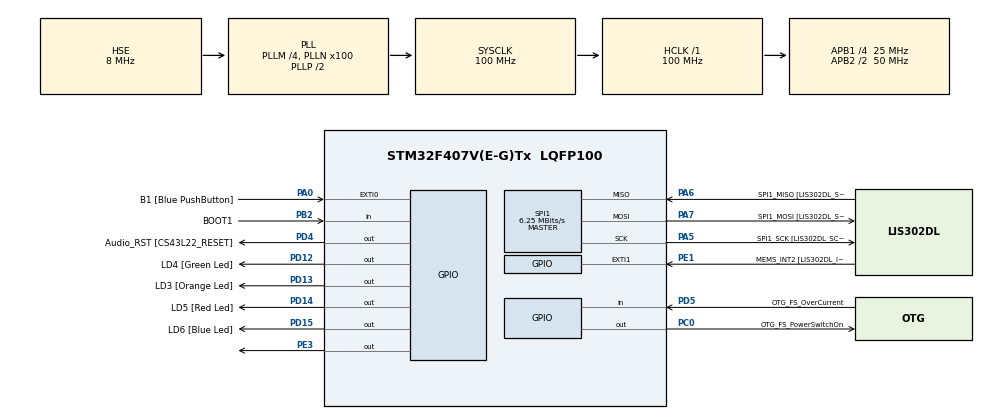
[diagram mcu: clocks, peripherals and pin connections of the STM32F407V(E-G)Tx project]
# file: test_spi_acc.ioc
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Mcu.Family=STM32F4
Mcu.Name=STM32F407V(E-G)Tx
Mcu.Package=LQFP100
NVIC.PriorityGroup=NVIC_PRIORITYGROUP_0
PA0-WKUP.GPIO_Label=B1 [Blue PushButton]
PA0-WKUP.Signal=GPXTI0
PA10.GPIO_Label=OTG_FS_ID
PA10.GPIO_Mode=GPIO_MODE_AF_PP
PA10.GPIO_PuPd=GPIO_NOPULL
PA10.GPIO_Speed=GPIO_SPEED_FREQ_LOW
PA10.Signal=USB_OTG_FS_ID
PA11.GPIO_Label=OTG_FS_DM
PA11.GPIO_Mode=GPIO_MODE_AF_PP
PA11.GPIO_PuPd=GPIO_NOPULL
PA11.GPIO_Speed=GPIO_SPEED_FREQ_LOW
PA11.Signal=USB_OTG_FS_DM
PA12.GPIO_Label=OTG_FS_DP
PA12.GPIO_Mode=GPIO_MODE_AF_PP
PA12.GPIO_PuPd=GPIO_NOPULL
PA12.GPIO_Speed=GPIO_SPEED_FREQ_LOW
PA12.Signal=USB_OTG_FS_DP
PA13.GPIO_Label=SWDIO
PA13.Mode=Serial_Wire
PA13.Signal=SYS_JTMS-SWDIO
PA14.GPIO_Label=SWCLK
PA14.Mode=Serial_Wire
PA14.Signal=SYS_JTCK-SWCLK
PA4.GPIO_Label=I2S3_WS [CS43L22_LRCK]
PA4.GPIO_Mode=GPIO_MODE_AF_PP
PA4.GPIO_PuPd=GPIO_NOPULL
PA4.GPIO_Speed=GPIO_SPEED_FREQ_LOW
PA4.Signal=I2S3_WS
PA5.GPIO_Label=SPI1_SCK [LIS302DL_SCL/SPC]
PA5.GPIO_Mode=GPIO_MODE_AF_PP
PA5.GPIO_PuPd=GPIO_NOPULL
PA5.GPIO_Speed=GPIO_SPEED_FREQ_LOW
PA5.Mode=Full_Duplex_Master
PA5.Signal=SPI1_SCK
PA6.GPIO_Label=SPI1_MISO [LIS302DL_SDO]
PA6.GPIO_Mode=GPIO_MODE_AF_PP
PA6.GPIO_PuPd=GPIO_NOPULL
PA6.GPIO_Speed=GPIO_SPEED_FREQ_LOW
PA6.Mode=Full_Duplex_Master
PA6.Signal=SPI1_MISO
PA7.GPIO_Label=SPI1_MOSI [LIS302DL_SDA/SDI/SDO]
PA7.GPIO_Mode=GPIO_MODE_AF_PP
PA7.GPIO_PuPd=GPIO_NOPULL
PA7.GPIO_Speed=GPIO_SPEED_FREQ_LOW
PA7.Mode=Full_Duplex_Master
PA7.Signal=SPI1_MOSI
PA9.GPIO_Label=VBUS_FS
PA9.GPIO_Mode=GPIO_MODE_INPUT
PA9.GPIO_PuPd=GPIO_NOPULL
PA9.Signal=USB_OTG_FS_VBUS
PB10.GPIO_Label=CLK_IN [MP45DT02_CLK]
PB10.GPIO_Mode=GPIO_MODE_AF_PP
PB10.GPIO_PuPd=GPIO_NOPULL
PB10.GPIO_Speed=GPIO_SPEED_FREQ_LOW
PB10.Signal=I2S2_CK
PB2.GPIO_Label=BOOT1
PB2.GPIO_Mode=GPIO_MODE_INPUT
PB2.GPIO_PuPd=GPIO_NOPULL
PB2.Signal=GPIO_Input
PB3.GPIO_Label=SWO
PB3.Signal=SYS_JTDO-SWO
PB6.GPIO_Label=Audio_SCL [CS43L22_SCL]
PB6.GPIO_Mode=GPIO_MODE_AF_OD
PB6.GPIO_PuPd=GPIO_NOPULL
PB6.GPIO_Speed=GPIO_SPEED_FREQ_LOW
PB6.Signal=I2C1_SCL
PB9.GPIO_Label=Audio_SDA [CS43L22_SDA]
PB9.GPIO_Mode=GPIO_MODE_AF_OD
PB9.GPIO_PuPd=GPIO_NOPULL
PB9.GPIO_Speed=GPIO_SPEED_FREQ_LOW
PB9.Signal=I2C1_SDA
PC0.GPIO_Label=OTG_FS_PowerSwitchOn
PC0.GPIO_PuPd=GPIO_NOPULL
PC0.GPIO_Speed=GPIO_SPEED_FREQ_LOW
PC0.PinState=GPIO_PIN_SET
PC0.Signal=GPIO_Output
PC10.GPIO_Label=I2S3_SCK [CS43L22_SCLK]
PC10.GPIO_Mode=GPIO_MODE_AF_PP
PC10.GPIO_PuPd=GPIO_NOPULL
PC10.GPIO_Speed=GPIO_SPEED_FREQ_LOW
PC10.Signal=I2S3_CK
PC12.GPIO_Label=I2S3_SD [CS43L22_SDIN]
PC12.GPIO_Mode=GPIO_MODE_AF_PP
PC12.GPIO_PuPd=GPIO_NOPULL
PC12.GPIO_Speed=GPIO_SPEED_FREQ_LOW
PC12.Signal=I2S3_SD
PC14-OSC32_IN.GPIO_Label=PC14-OSC32_IN
PC14-OSC32_IN.Signal=RCC_OSC32_IN
PC15-OSC32_OUT.GPIO_Label=PC15-OSC32_OUT
PC15-OSC32_OUT.Signal=RCC_OSC32_OUT
PC3.GPIO_Label=PDM_OUT [MP45DT02_DOUT]
PC3.GPIO_Mode=GPIO_MODE_AF_PP
PC3.GPIO_PuPd=GPIO_NOPULL
PC3.GPIO_Speed=GPIO_SPEED_FREQ_LOW
PC3.Signal=I2S2_SD
PC7.GPIO_Label=I2S3_MCK [CS43L22_MCLK]
PC7.GPIO_Mode=GPIO_MODE_AF_PP
PC7.GPIO_PuPd=GPIO_NOPULL
PC7.GPIO_Speed=GPIO_SPEED_FREQ_LOW
PC7.Signal=I2S3_MCK
PD12.GPIO_Label=LD4 [Green Led]
PD12.GPIO_PuPd=GPIO_NOPULL
PD12.GPIO_Speed=GPIO_SPEED_FREQ_LOW
PD12.Signal=GPIO_Output
PD13.GPIO_Label=LD3 [Orange Led]
PD13.GPIO_PuPd=GPIO_NOPULL
PD13.GPIO_Speed=GPIO_SPEED_FREQ_LOW
PD13.Signal=GPIO_Output
PD14.GPIO_Label=LD5 [Red Led]
PD14.GPIO_PuPd=GPIO_NOPULL
PD14.GPIO_Speed=GPIO_SPEED_FREQ_LOW
PD14.Signal=GPIO_Output
PD15.GPIO_Label=LD6 [Blue Led]
PD15.GPIO_PuPd=GPIO_NOPULL
PD15.GPIO_Speed=GPIO_SPEED_FREQ_LOW
PD15.Signal=GPIO_Output
PD4.GPIO_Label=Audio_RST [CS43L22_RESET]
PD4.GPIO_PuPd=GPIO_NOPULL
PD4.GPIO_Speed=GPIO_SPEED_FREQ_LOW
PD4.Signal=GPIO_Output
PD5.GPIO_Label=OTG_FS_OverCurrent
PD5.GPIO_Mode=GPIO_MODE_INPUT
PD5.GPIO_PuPd=GPIO_NOPULL
PD5.Signal=GPIO_Input
PE1.GPIO_Label=MEMS_INT2 [LIS302DL_INT2]
PE1.GPIO_ModeDefaultEXTI=GPIO_MODE_EVT_RISING
PE1.GPIO_PuPd=GPIO_NOPULL
PE1.Signal=GPXTI1
PE3.GPIO_PuPd=GPIO_PULLUP
PE3.PinState=GPIO_PIN_SET
PE3.Signal=GPIO_Output
PH0-OSC_IN.GPIO_Label=PH0-OSC_IN
PH0-OSC_IN.Mode=HSE-External-Oscillator
PH0-OSC_IN.Signal=RCC_OSC_IN
PH1-OSC_OUT.GPIO_Label=PH1-OSC_OUT
PH1-OSC_OUT.Mode=HSE-External-Oscillator
PH1-OSC_OUT.Signal=RCC_OSC_OUT
ProjectManager.HeapSize=0x400
ProjectManager.StackSize=0x400
ProjectManager.TargetToolchain=SW4STM32
RCC.48MHZClocksFreq_Value=28571428.57142857
RCC.AHBFreq_Value=100000000
RCC.APB1CLKDivider=RCC_HCLK_DIV4
RCC.APB1Freq_Value=25000000
RCC.APB1TimFreq_Value=50000000
RCC.APB2CLKDivider=RCC_HCLK_DIV2
RCC.APB2Freq_Value=50000000
RCC.APB2TimFreq_Value=100000000
RCC.CortexFreq_Value=100000000
RCC.HCLKFreq_Value=100000000
RCC.HSE_VALUE=8000000
RCC.HSI_VALUE=16000000
RCC.LSE_VALUE=32768
RCC.PLLM=4
RCC.PLLN=100
RCC.PLLQ=7
RCC.PLLSourceVirtual=RCC_PLLSOURCE_HSE
RCC.SYSCLKFreq_VALUE=100000000
RCC.SYSCLKSource=RCC_SYSCLKSOURCE_PLLCLK
RCC.VCOOutputFreq_Value=200000000
SPI1.BaudRatePrescaler=SPI_BAUDRATEPRESCALER_8
SPI1.CLKPhase=SPI_PHASE_2EDGE
SPI1.CLKPolarity=SPI_POLARITY_HIGH
SPI1.CalculateBaudRate=6.25 MBits/s
SPI1.Direction=SPI_DIRECTION_2LINES
SPI1.Mode=SPI_MODE_MASTER
SPI1.VirtualType=VM_MASTER
board=STM32F4DISCOVERY

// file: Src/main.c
/**
 ******************************************************************************
 * File Name          : main.c
 * Description        : Main program body
 ******************************************************************************
 ** This notice applies to any and all portions of this file
 * that are not between comment pairs USER CODE BEGIN and
 * USER CODE END. Other portions of this file, whether
 * inserted by the user or by software development tools
 * are owned by their respective copyright owners.
 *
 * COPYRIGHT(c) 2017 STMicroelectronics
 *
 * Redistribution and use in source and binary forms, with or without modification,
 * are permitted provided that the following conditions are met:
 *   1. Redistributions of source code must retain the above copyright notice,
 *      this list of conditions and the following disclaimer.
 *   2. Redistributions in binary form must reproduce the above copyright notice,
 *      this list of conditions and the following disclaimer in the documentation
 *      and/or other materials provided with the distribution.
 *   3. Neither the name of STMicroelectronics nor the names of its contributors
 *      may be used to endorse or promote products derived from this software
 *      without specific prior written permission.
 *
 * THIS SOFTWARE IS PROVIDED BY THE COPYRIGHT HOLDERS AND CONTRIBUTORS "AS IS"
 * AND ANY EXPRESS OR IMPLIED WARRANTIES, INCLUDING, BUT NOT LIMITED TO, THE
 * IMPLIED WARRANTIES OF MERCHANTABILITY AND FITNESS FOR A PARTICULAR PURPOSE ARE
 * DISCLAIMED. IN NO EVENT SHALL THE COPYRIGHT HOLDER OR CONTRIBUTORS BE LIABLE
 * FOR ANY DIRECT, INDIRECT, INCIDENTAL, SPECIAL, EXEMPLARY, OR CONSEQUENTIAL
 * DAMAGES (INCLUDING, BUT NOT LIMITED TO, PROCUREMENT OF SUBSTITUTE GOODS OR
 * SERVICES; LOSS OF USE, DATA, OR PROFITS; OR BUSINESS INTERRUPTION) HOWEVER
 * CAUSED AND ON ANY THEORY OF LIABILITY, WHETHER IN CONTRACT, STRICT LIABILITY,
 * OR TORT (INCLUDING NEGLIGENCE OR OTHERWISE) ARISING IN ANY WAY OUT OF THE USE
 * OF THIS SOFTWARE, EVEN IF ADVISED OF THE POSSIBILITY OF SUCH DAMAGE.
 *
 ******************************************************************************
 */
#include "main.h"
#include "limits.h"
#include "stm32f4xx_hal.h"

/* USER CODE BEGIN Includes */
#define ADD_INC (0x01 << 4)
#define CTRL_REG6 0x25
#define OUT_X 0x28
#define OUT_Y 0x2A
#define OUT_Z 0x2C
#define CTRL_REG4 0x20
#define ACC_100_Hz 0x67
/* USER CODE END Includes */

SPI_HandleTypeDef hspi1;

/* USER CODE BEGIN PV */
/* Private variables ---------------------------------------------------------*/

/* USER CODE END PV */

void SystemClock_Config(void);
static void MX_GPIO_Init(void);
static void MX_SPI1_Init(void);

/* USER CODE BEGIN PFP */
/* Private function prototypes -----------------------------------------------*/
void writeRegister(uint8_t address, uint8_t value);
uint16_t readAxis(uint8_t axis);
void readRegisters(uint8_t address, uint8_t no_of_registers, uint8_t *data);
void initAccelerometer();
/* USER CODE END PFP */

/* USER CODE BEGIN 0 */
int16_t out_x;
int16_t out_y;
int16_t out_z;
uint8_t * data;
float z_axis_g;
float x_axis_g;
float y_axis_g;
/* USER CODE END 0 */

int main(void) {

	/* MCU Configuration----------------------------------------------------------*/

	/* Reset of all peripherals, Initializes the Flash interface and the Systick. */
	HAL_Init();

	/* Configure the system clock */
	SystemClock_Config();

	/* Initialize all configured peripherals */
	MX_GPIO_Init();
	MX_SPI1_Init();

	/* USER CODE BEGIN 2 */
	//HAL_SPI_DeInit(&hspi1);
	HAL_SPI_Init(&hspi1);
	initAccelerometer();
	/* USER CODE END 2 */

	/* Infinite loop */
	while (1) {

		/* USER CODE BEGIN 3 */
		out_x = readAxis(OUT_X);
		out_y = readAxis(OUT_Y);
		out_z = readAxis(OUT_Z);
		z_axis_g = (float) (out_z * 2.0) / (float) (INT16_MAX);
		x_axis_g = (float) (out_x * 2.0) / (float) (INT16_MAX);
		y_axis_g = (float) (out_y * 2.0) / (float) (INT16_MAX);
		//readRegisters(0x0F, 1, &data);
		HAL_Delay(100);
	}
	/* USER CODE END 3 */

}

/** System Clock Configuration
 */
void SystemClock_Config(void) {

	RCC_OscInitTypeDef RCC_OscInitStruct;
	RCC_ClkInitTypeDef RCC_ClkInitStruct;

	/**Configure the main internal regulator output voltage
	 */
	__HAL_RCC_PWR_CLK_ENABLE();

	__HAL_PWR_VOLTAGESCALING_CONFIG(PWR_REGULATOR_VOLTAGE_SCALE1);/**Initializes the CPU, AHB and APB busses clocks
	 */
	RCC_OscInitStruct.OscillatorType = RCC_OSCILLATORTYPE_HSE;
	RCC_OscInitStruct.HSEState = RCC_HSE_ON;
	RCC_OscInitStruct.PLL.PLLState = RCC_PLL_ON;
	RCC_OscInitStruct.PLL.PLLSource = RCC_PLLSOURCE_HSE;
	RCC_OscInitStruct.PLL.PLLM = 4;
	RCC_OscInitStruct.PLL.PLLN = 100;
	RCC_OscInitStruct.PLL.PLLP = RCC_PLLP_DIV2;
	RCC_OscInitStruct.PLL.PLLQ = 7;
	if (HAL_RCC_OscConfig(&RCC_OscInitStruct) != HAL_OK) {
		_Error_Handler(__FILE__, __LINE__);
	}

	/**Initializes the CPU, AHB and APB busses clocks
	 */
	RCC_ClkInitStruct.ClockType = RCC_CLOCKTYPE_HCLK | RCC_CLOCKTYPE_SYSCLK
			| RCC_CLOCKTYPE_PCLK1 | RCC_CLOCKTYPE_PCLK2;
	RCC_ClkInitStruct.SYSCLKSource = RCC_SYSCLKSOURCE_PLLCLK;
	RCC_ClkInitStruct.AHBCLKDivider = RCC_SYSCLK_DIV1;
	RCC_ClkInitStruct.APB1CLKDivider = RCC_HCLK_DIV4;
	RCC_ClkInitStruct.APB2CLKDivider = RCC_HCLK_DIV2;

	if (HAL_RCC_ClockConfig(&RCC_ClkInitStruct, FLASH_LATENCY_3) != HAL_OK) {
		_Error_Handler(__FILE__, __LINE__);
	}

	/**Configure the Systick interrupt time
	 */
	HAL_SYSTICK_Config(HAL_RCC_GetHCLKFreq() / 1000);

	/**Configure the Systick
	 */
	HAL_SYSTICK_CLKSourceConfig (SYSTICK_CLKSOURCE_HCLK);

	/* SysTick_IRQn interrupt configuration */
	HAL_NVIC_SetPriority(SysTick_IRQn, 0, 0);
}

/* SPI1 init function */
static void MX_SPI1_Init(void) {

	/* SPI1 parameter configuration*/
	hspi1.Instance = SPI1;
	hspi1.Init.Mode = SPI_MODE_MASTER;
	hspi1.Init.Direction = SPI_DIRECTION_2LINES;
	hspi1.Init.DataSize = SPI_DATASIZE_8BIT;
	hspi1.Init.CLKPolarity = SPI_POLARITY_HIGH;
	hspi1.Init.CLKPhase = SPI_PHASE_2EDGE;
	hspi1.Init.NSS = SPI_NSS_SOFT;
	hspi1.Init.BaudRatePrescaler = SPI_BAUDRATEPRESCALER_8;
	hspi1.Init.FirstBit = SPI_FIRSTBIT_MSB;
	hspi1.Init.TIMode = SPI_TIMODE_DISABLE;
	hspi1.Init.CRCCalculation = SPI_CRCCALCULATION_DISABLE;
	hspi1.Init.CRCPolynomial = 10;
	if (HAL_SPI_Init(&hspi1) != HAL_OK) {
		_Error_Handler(__FILE__, __LINE__);
	}

}

/** Configure pins as
 * Analog
 * Input
 * Output
 * EVENT_OUT
 * EXTI
 PC3   ------> I2S2_SD
 PA4   ------> I2S3_WS
 PB10   ------> I2S2_CK
 PC7   ------> I2S3_MCK
 PA9   ------> USB_OTG_FS_VBUS
 PA10   ------> USB_OTG_FS_ID
 PA11   ------> USB_OTG_FS_DM
 PA12   ------> USB_OTG_FS_DP
 PC10   ------> I2S3_CK
 PC12   ------> I2S3_SD
 PB6   ------> I2C1_SCL
 PB9   ------> I2C1_SDA
 */
static void MX_GPIO_Init(void) {

	GPIO_InitTypeDef GPIO_InitStruct;

	/* GPIO Ports Clock Enable */
	__HAL_RCC_GPIOE_CLK_ENABLE();
	__HAL_RCC_GPIOC_CLK_ENABLE();
	__HAL_RCC_GPIOH_CLK_ENABLE();
	__HAL_RCC_GPIOA_CLK_ENABLE();
	__HAL_RCC_GPIOB_CLK_ENABLE();
	__HAL_RCC_GPIOD_CLK_ENABLE();

	/*Configure GPIO pin Output Level */
	HAL_GPIO_WritePin(GPIOE, GPIO_PIN_3, GPIO_PIN_SET);

	/*Configure GPIO pin Output Level */
	HAL_GPIO_WritePin(OTG_FS_PowerSwitchOn_GPIO_Port, OTG_FS_PowerSwitchOn_Pin,
			GPIO_PIN_SET);

	/*Configure GPIO pin Output Level */
	HAL_GPIO_WritePin(GPIOD,
			LD4_Pin | LD3_Pin | LD5_Pin | LD6_Pin | Audio_RST_Pin,
			GPIO_PIN_RESET);

	/*Configure GPIO pin : PE3 */
	GPIO_InitStruct.Pin = GPIO_PIN_3;
	GPIO_InitStruct.Mode = GPIO_MODE_OUTPUT_PP;
	GPIO_InitStruct.Pull = GPIO_PULLUP;
	GPIO_InitStruct.Speed = GPIO_SPEED_FREQ_LOW;
	HAL_GPIO_Init(GPIOE, &GPIO_InitStruct);

	/*Configure GPIO pin : OTG_FS_PowerSwitchOn_Pin */
	GPIO_InitStruct.Pin = OTG_FS_PowerSwitchOn_Pin;
	GPIO_InitStruct.Mode = GPIO_MODE_OUTPUT_PP;
	GPIO_InitStruct.Pull = GPIO_NOPULL;
	GPIO_InitStruct.Speed = GPIO_SPEED_FREQ_LOW;
	HAL_GPIO_Init(OTG_FS_PowerSwitchOn_GPIO_Port, &GPIO_InitStruct);

	/*Configure GPIO pin : PDM_OUT_Pin */
	GPIO_InitStruct.Pin = PDM_OUT_Pin;
	GPIO_InitStruct.Mode = GPIO_MODE_AF_PP;
	GPIO_InitStruct.Pull = GPIO_NOPULL;
	GPIO_InitStruct.Speed = GPIO_SPEED_FREQ_LOW;
	GPIO_InitStruct.Alternate = GPIO_AF5_SPI2;
	HAL_GPIO_Init(PDM_OUT_GPIO_Port, &GPIO_InitStruct);

	/*Configure GPIO pin : B1_Pin */
	GPIO_InitStruct.Pin = B1_Pin;
	GPIO_InitStruct.Mode = GPIO_MODE_IT_RISING;
	GPIO_InitStruct.Pull = GPIO_NOPULL;
	HAL_GPIO_Init(B1_GPIO_Port, &GPIO_InitStruct);

	/*Configure GPIO pin : I2S3_WS_Pin */
	GPIO_InitStruct.Pin = I2S3_WS_Pin;
	GPIO_InitStruct.Mode = GPIO_MODE_AF_PP;
	GPIO_InitStruct.Pull = GPIO_NOPULL;
	GPIO_InitStruct.Speed = GPIO_SPEED_FREQ_LOW;
	GPIO_InitStruct.Alternate = GPIO_AF6_SPI3;
	HAL_GPIO_Init(I2S3_WS_GPIO_Port, &GPIO_InitStruct);

	/*Configure GPIO pin : BOOT1_Pin */
	GPIO_InitStruct.Pin = BOOT1_Pin;
	GPIO_InitStruct.Mode = GPIO_MODE_INPUT;
	GPIO_InitStruct.Pull = GPIO_NOPULL;
	HAL_GPIO_Init(BOOT1_GPIO_Port, &GPIO_InitStruct);

	/*Configure GPIO pin : CLK_IN_Pin */
	GPIO_InitStruct.Pin = CLK_IN_Pin;
	GPIO_InitStruct.Mode = GPIO_MODE_AF_PP;
	GPIO_InitStruct.Pull = GPIO_NOPULL;
	GPIO_InitStruct.Speed = GPIO_SPEED_FREQ_LOW;
	GPIO_InitStruct.Alternate = GPIO_AF5_SPI2;
	HAL_GPIO_Init(CLK_IN_GPIO_Port, &GPIO_InitStruct);

	/*Configure GPIO pins : LD4_Pin LD3_Pin LD5_Pin LD6_Pin
	 Audio_RST_Pin */
	GPIO_InitStruct.Pin = LD4_Pin | LD3_Pin | LD5_Pin | LD6_Pin | Audio_RST_Pin;
	GPIO_InitStruct.Mode = GPIO_MODE_OUTPUT_PP;
	GPIO_InitStruct.Pull = GPIO_NOPULL;
	GPIO_InitStruct.Speed = GPIO_SPEED_FREQ_LOW;
	HAL_GPIO_Init(GPIOD, &GPIO_InitStruct);

	/*Configure GPIO pins : I2S3_MCK_Pin I2S3_SCK_Pin I2S3_SD_Pin */
	GPIO_InitStruct.Pin = I2S3_MCK_Pin | I2S3_SCK_Pin | I2S3_SD_Pin;
	GPIO_InitStruct.Mode = GPIO_MODE_AF_PP;
	GPIO_InitStruct.Pull = GPIO_NOPULL;
	GPIO_InitStruct.Speed = GPIO_SPEED_FREQ_LOW;
	GPIO_InitStruct.Alternate = GPIO_AF6_SPI3;
	HAL_GPIO_Init(GPIOC, &GPIO_InitStruct);

	/*Configure GPIO pin : VBUS_FS_Pin */
	GPIO_InitStruct.Pin = VBUS_FS_Pin;
	GPIO_InitStruct.Mode = GPIO_MODE_INPUT;
	GPIO_InitStruct.Pull = GPIO_NOPULL;
	HAL_GPIO_Init(VBUS_FS_GPIO_Port, &GPIO_InitStruct);

	/*Configure GPIO pins : OTG_FS_ID_Pin OTG_FS_DM_Pin OTG_FS_DP_Pin */
	GPIO_InitStruct.Pin = OTG_FS_ID_Pin | OTG_FS_DM_Pin | OTG_FS_DP_Pin;
	GPIO_InitStruct.Mode = GPIO_MODE_AF_PP;
	GPIO_InitStruct.Pull = GPIO_NOPULL;
	GPIO_InitStruct.Speed = GPIO_SPEED_FREQ_LOW;
	GPIO_InitStruct.Alternate = GPIO_AF10_OTG_FS;
	HAL_GPIO_Init(GPIOA, &GPIO_InitStruct);

	/*Configure GPIO pin : OTG_FS_OverCurrent_Pin */
	GPIO_InitStruct.Pin = OTG_FS_OverCurrent_Pin;
	GPIO_InitStruct.Mode = GPIO_MODE_INPUT;
	GPIO_InitStruct.Pull = GPIO_NOPULL;
	HAL_GPIO_Init(OTG_FS_OverCurrent_GPIO_Port, &GPIO_InitStruct);

	/*Configure GPIO pins : Audio_SCL_Pin Audio_SDA_Pin */
	GPIO_InitStruct.Pin = Audio_SCL_Pin | Audio_SDA_Pin;
	GPIO_InitStruct.Mode = GPIO_MODE_AF_OD;
	GPIO_InitStruct.Pull = GPIO_PULLUP;
	GPIO_InitStruct.Speed = GPIO_SPEED_FREQ_LOW;
	GPIO_InitStruct.Alternate = GPIO_AF4_I2C1;
	HAL_GPIO_Init(GPIOB, &GPIO_InitStruct);

	/*Configure GPIO pin : MEMS_INT2_Pin */
	GPIO_InitStruct.Pin = MEMS_INT2_Pin;
	GPIO_InitStruct.Mode = GPIO_MODE_EVT_RISING;
	GPIO_InitStruct.Pull = GPIO_NOPULL;
	HAL_GPIO_Init(MEMS_INT2_GPIO_Port, &GPIO_InitStruct);

}

/* USER CODE BEGIN 4 */
void readRegisters(uint8_t address, uint8_t no_of_registers, uint8_t *data) {
	address = address | 0x01 << 7;
	HAL_GPIO_WritePin(GPIOE, GPIO_PIN_3, GPIO_PIN_RESET);
	HAL_SPI_Transmit(&hspi1, &address, 1, 100);
	HAL_SPI_Receive(&hspi1, data, no_of_registers, 100);
	HAL_GPIO_WritePin(GPIOE, GPIO_PIN_3, GPIO_PIN_SET);
}
void writeRegister(uint8_t address, uint8_t value) {
	HAL_GPIO_WritePin(GPIOE, GPIO_PIN_3, GPIO_PIN_RESET);
	HAL_SPI_Transmit(&hspi1, &address, 1, 100);
	HAL_SPI_Transmit(&hspi1, &value, 1, 100);
	HAL_GPIO_WritePin(GPIOE, GPIO_PIN_3, GPIO_PIN_SET);
}

void initAccelerometer() {
	// enable to read multiple lines
	//writeRegister(CTRL_REG6, ADD_INC);
	//enable and set measurements rate
	writeRegister(CTRL_REG4, ACC_100_Hz);
}
uint16_t readAxis(uint8_t axis) {
	uint8_t data[2];
	readRegisters(axis, 2, data);
	return (data[1] << 8) | data[0];
}
/* USER CODE END 4 */

void _Error_Handler(char * file, int line) {
	while (1) {
	}
}

/************************ (C) COPYRIGHT STMicroelectronics *****END OF FILE****/
